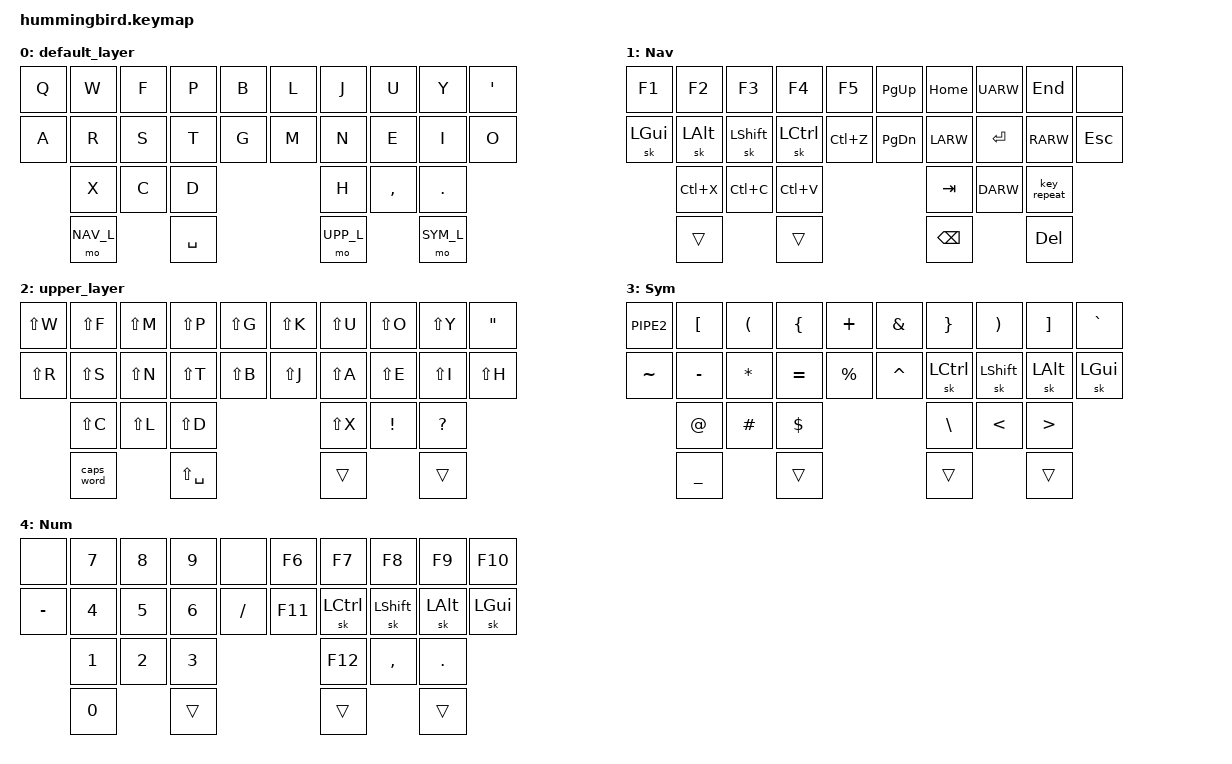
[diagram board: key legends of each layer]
/*
 * Copyright (c) 2020 The ZMK Contributors
 *
 * SPDX-License-Identifier: MIT
 */

#include <behaviors.dtsi>
#include <dt-bindings/zmk/keys.h>

#define DEF_L 0
#define NAV_L 1
#define UPP_L 2
#define SYM_L 3
#define NUM_L 4

/*                KEY POSITIONS

  ╭────────────────────╮ ╭────────────────────╮
  │  0   1   2   3   4 │ │  5   6   7   8   9 │
  │ 10  11  12  13  14 │ │ 15  16  17  18  19 │
  │     20  21  22     │ │     23  24  25     │
  ╰───────────╮ 26  27 │ │ 28  29 ╭───────────╯
              ╰────────╯ ╰────────╯            */

/ {
    combos {
        compatible = "zmk,combos";
        combo_v {
            timeout-ms = <50>;
            key-positions = <1 2>;
            bindings = <&kp V>;
            layers = <DEF_L>;
        };
        combo_q {
            timeout-ms = <50>;
            key-positions = <1 3>;
            bindings = <&kp Q>;
            layers = <DEF_L>;
        };
        combo_z {
            timeout-ms = <50>;
            key-positions = <20 21>;
            bindings = <&kp Z>;
            layers = <DEF_L>;
        };
        combo_upper_v {
            timeout-ms = <50>;
            key-positions = <1 2>;
            bindings = <&kp LS(V)>;
            layers = <UPP_L>;
        };
        combo_upper_q {
            timeout-ms = <50>;
            key-positions = <1 3>;
            bindings = <&kp LS(Q)>;
            layers = <UPP_L>;
        };
        combo_upper_z {
            timeout-ms = <50>;
            key-positions = <20 21>;
            bindings = <&kp LS(Z)>;
            layers = <UPP_L>;
        };
        combo_slash {
            timeout-ms = <50>;
            key-positions = <24 25>;
            bindings = <&kp SLASH>;
            layers = <DEF_L UPP_L>;
        };
        combo_colon {
            timeout-ms = <50>;
            key-positions = <23 24>;
            bindings = <&kp COLON>;
            layers = <DEF_L UPP_L>;
        };
        combo_semicolon {
            timeout-ms = <50>;
            key-positions = <23 25>;
            bindings = <&kp SEMICOLON>;
            layers = <DEF_L UPP_L>;
        };
        combo_esc {
            timeout-ms = <50>;
            key-positions = <3 4>;
            bindings = <&kp ESC>;
            layers = <DEF_L>;
        };
        combo_del {
            timeout-ms = <50>;
            key-positions = <13 14>;
            bindings = <&kp DEL>;
            layers = <DEF_L>;
        };        
        combo_select_all {
            timeout-ms = <50>;
            key-positions = <20 21>;
            bindings = <&kp LC(A)>;
            layers = <NAV_L>;
        };
    };
};

/ {
    conditional_layers {
        compatible = "zmk,conditional-layers";
        tri_layer {
            if-layers = <UPP_L SYM_L>;
            then-layer = <NUM_L>;
        };
    };
};

/ {
    keymap {
        compatible = "zmk,keymap";

        default_layer {
            bindings = <
    &kp Q      &kp W      &kp F      &kp P      &kp B      &kp L      &kp J      &kp U      &kp Y      &kp QUOT 
    &kp A      &kp R      &kp S      &kp T      &kp G      &kp M      &kp N      &kp E      &kp I      &kp O
               &kp X      &kp C      &kp D                            &kp H      &kp COMMA  &kp DOT
               &mo NAV_L             &kp SPACE                        &mo UPP_L             &mo SYM_L
            >;
        };

        nav_layer {
            label = "Nav";
            bindings = <
    &kp F1     &kp F2     &kp F3       &kp F4     &kp F5     &kp PG_UP  &kp HOME   &kp UARW   &kp END    &none
    &sk LGUI   &sk LALT   &sk LSHFT    &sk LCTRL  &kp LC(Z)  &kp PG_DN  &kp LARW   &kp ENTER  &kp RARW   &kp ESC
               &kp LC(X)  &kp LC(C)    &kp LC(V)                        &kp TAB    &kp DARW   &key_repeat
               &trans                    &trans                         &kp BSPC              &kp DEL
            >;
        };

        upper_layer {
            bindings = <
    &kp LS(W)  &kp LS(F)  &kp LS(M)  &kp LS(P)  &kp LS(G)  &kp LS(K)  &kp LS(U)  &kp LS(O)  &kp LS(Y)  &kp DQT
    &kp LS(R)  &kp LS(S)  &kp LS(N)  &kp LS(T)  &kp LS(B)  &kp LS(J)  &kp LS(A)  &kp LS(E)  &kp LS(I)  &kp LS(H)
               &kp LS(C)  &kp LS(L)  &kp LS(D)                        &kp LS(X)  &kp EXCL   &kp QMARK
               &caps_word            &kp LS(SPACE)                    &trans                &trans
            >;
        };

        sym_layer {
            label = "Sym";
            bindings = <
    &kp PIPE2  &kp LBKT   &kp LPAR   &kp LBRC   &kp PLUS  &kp AMPS    &kp RBRC   &kp RPAR   &kp RBKT   &kp GRAVE
    &kp TILDE  &kp MINUS  &kp ASTRK  &kp EQUAL  &kp PRCNT &kp CARET   &sk LCTRL  &sk LSHFT  &sk LALT   &sk LGUI
               &kp AT     &kp POUND  &kp DLLR                         &kp BSLH   &kp LT     &kp GT
               &kp UNDER                &trans                           &trans                &trans
            >;
        };

        num_layer {
            label = "Num";
            bindings = <
    &none      &kp N7     &kp N8     &kp N9     &none      &kp F6     &kp F7     &kp F8     &kp F9     &kp F10
    &kp MINUS  &kp N4     &kp N5     &kp N6     &kp SLASH  &kp F11    &sk LCTRL  &sk LSHFT  &sk LALT   &sk LGUI
               &kp N1     &kp N2     &kp N3                           &kp F12    &kp COMMA  &kp DOT
               &kp N0                &trans                           &trans                &trans
            >;
        };
    };
};
